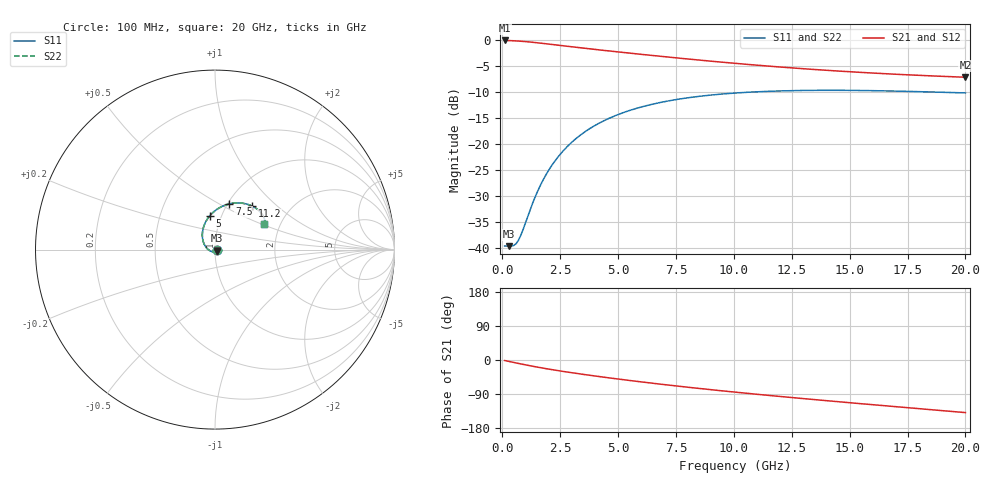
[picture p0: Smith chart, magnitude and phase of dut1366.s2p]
! Touchstone file exported from HFSS 2024.1.0
!  File:  C:/UserFiles/LocalFiles/RDL_TSV_Batchsim/temp_RDL_TSV_1366_1780397470.aedt
!  Generated:  07:07:46 PM Jun  2, 2026
!  Design:  RDL_TSV
!  Project:  temp_RDL_TSV_1366_1780397470
!  Setup:  Setup1
!  Solution:  Sweep
! Variables:
!  dtsv = 10.55um
!  hbump = 3um
!  htsv = 83.38um
!  ldown = 209.5um
!  lrdl = 237.67um
!  p = 40
!  p1 = 46.71um
!  rhole = 10um
!  subl = 1579.18um
!  t = 450um
!  tdown = 4.33um
!  trdl = 4.09um
!  viad = 10um
!  wdown = 10.2um
!  wrdl = 17.4um
!  xbump = 18um
# GHz S MA R 50.000000
! Terminal data exported
! Port[1] = TM1_1_T1
! Port[2] = TM1_4_T1
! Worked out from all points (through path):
!   200 points, 100 MHz to 20 GHz, reference 50 ohm
!   highest |S21| = -0.09 dB at 100 MHz (marker M1); lowest = -7.2 dB at 20 GHz (marker M2)
!   group delay of S21, straight-line fit = 18.1 ps
!   lowest |S11| = -39.6 dB at 300 MHz (marker M3), VSWR 1.02, Z = 50.9 - j0.603 ohm
!   |S11| at or under -10 dB: start of sweep to 10.82 GHz; 18.56 GHz to end of sweep
!   |S22| runs from -39.6 to -9.7 dB; largest |S21 - S12| = 9e-15
!   S11 on the Smith chart (normalised r, x): 100 MHz: 1.02, -0.00; 5 GHz: 0.88, +0.35; 7.5 GHz: 1.02, +0.56; 11.2 GHz: 1.31, +0.71; 20 GHz: 1.66, +0.52
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0.1  0.01047 -10.7  0.9892 -1.3  0.9892 -1.3  0.01047 -10.7
! Gamma 0 0 0 0
! Port Impedance 50 0 50 0
0.3  0.01043 -34.6  0.9865 -4.0  0.9865 -4.0  0.01043 -34.6
0.5  0.01061 -63.6  0.9821 -6.6  0.9821 -6.6  0.01061 -63.5
0.7  0.01192 -95.3  0.976 -9.1  0.976 -9.1  0.01193 -95.3
0.9  0.01513 -123.8  0.9686 -11.6  0.9686 -11.6  0.01513 -123.8
1.3  0.02662 -162.2  0.9505 -16.4  0.9505 -16.4  0.02661 -162.2
1.5  0.03412 -175.0  0.9404 -18.6  0.9404 -18.6  0.03411 -174.9
1.8  0.04675 170.1  0.9244 -21.9  0.9244 -21.9  0.04674 170.1
2.1  0.06047 158.3  0.908 -25.0  0.908 -25.0  0.06045 158.4
2.7  0.08939 140.2  0.8756 -30.8  0.8756 -30.8  0.08936 140.2
3.1  0.1088 130.5  0.8548 -34.5  0.8548 -34.5  0.1088 130.5
3.5  0.1278 122.2  0.835 -38.0  0.835 -38.0  0.1278 122.2
4.2  0.1594 109.9  0.8022 -43.9  0.8022 -43.9  0.1593 109.9
5  0.1919 98.3  0.7675 -50.2  0.7675 -50.2  0.1918 98.3
5.8  0.2203 88.6  0.7352 -56.3  0.7352 -56.3  0.2202 88.7
6.8  0.25 78.5  0.6977 -63.6  0.6977 -63.6  0.2499 78.5
7.5  0.2673 72.4  0.6732 -68.4  0.6732 -68.4  0.2672 72.5
10.1  0.3095 54.9  0.5949 -85.1  0.5949 -85.1  0.3094 54.9
11.2  0.3191 49.3  0.5674 -91.7  0.5674 -91.7  0.319 49.3
13.4  0.3279 40.3  0.5216 -104.1  0.5216 -104.1  0.3277 40.3
16.7  0.3236 31.5  0.4718 -121.7  0.4718 -121.7  0.3235 31.5
20  0.3097 27.3  0.4383 -138.8  0.4383 -138.8  0.3096 27.3
